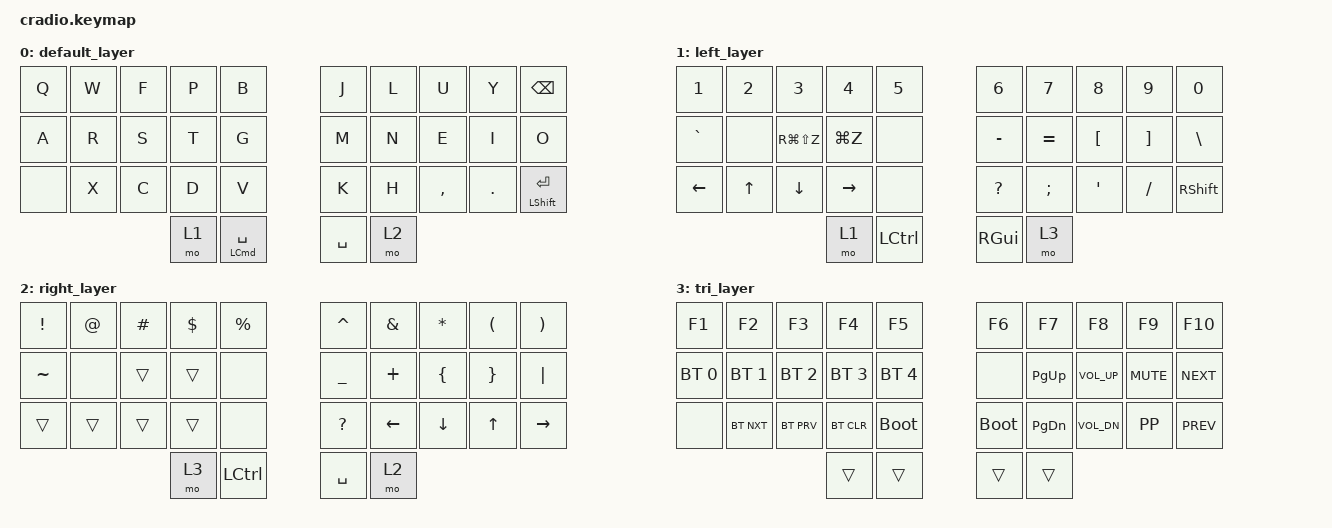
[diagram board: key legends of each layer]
/*
 * Copyright (c) 2020 The ZMK Contributors
 *
 * SPDX-License-Identifier: MIT
 */

#include <behaviors.dtsi>
#include <dt-bindings/zmk/keys.h>
#include <dt-bindings/zmk/bt.h>

&mt {
    //  flavor = "tap-preferred";
    // tapping_term_ms = <200>;
};

/ {
    combos {
        compatible = "zmk,combos";

        combo_esc {
            timeout-ms = <50>;
            key-positions = <0 1>;
            bindings = <&kp ESC>;
        };

        combo_tab {
            timeout-ms = <50>;
            key-positions = <10 11>;
            bindings = <&kp TAB>;
        };

        combo_ralt {
            timeout-ms = <50>;
            key-positions = <17 16>;
            bindings = <&kp RALT>;
        };

        combo_lalt {
            timeout-ms = <50>;
            key-positions = <11 12>;
            bindings = <&kp LALT>;
        };

        combo_lgui {
            timeout-ms = <50>;
            key-positions = <12 13>;
            bindings = <&kp LGUI>;
        };

        combo_rgui {
            timeout-ms = <50>;
            key-positions = <17 18>;
            bindings = <&kp RGUI>;
        };

        combo_z {
            bindings = <&kp Z>;
            key-positions = <10 21>;
        };

        combo_lctrl {
            bindings = <&kp LEFT_CONTROL>;
            key-positions = <21 22>;
        };

        combo_rctrl {
            bindings = <&kp RCTRL>;
            key-positions = <27 28>;
        };
    };

    keymap {
        compatible = "zmk,keymap";

        default_layer {
            bindings = <
  &kp Q   &kp W   &kp F   &kp P                   &kp B      &kp J   &kp L      &kp U    &kp Y     &kp BACKSPACE
  &kp A   &kp R   &kp S   &kp T                   &kp G      &kp M   &kp N      &kp E    &kp I             &kp O
  &none   &kp X   &kp C   &kp D                   &kp V      &kp K   &kp H  &kp COMMA  &kp DOT  &mt LSHIFT ENTER
                          &mo 1  &mt LEFT_COMMAND SPACE  &kp SPACE   &mo 2
            >;
        };

        left_layer {
            bindings = <
   &kp NUMBER_1  &kp NUMBER_2    &kp NUMBER_3     &kp NUMBER_4  &kp NUMBER_5  &kp NUMBER_6  &kp NUMBER_7  &kp NUMBER_8  &kp NUMBER_9   &kp NUMBER_0
      &kp GRAVE         &none   &kp RG(LS(Z))        &kp LG(Z)         &none     &kp MINUS     &kp EQUAL      &kp LBKT      &kp RBKT  &kp BACKSLASH
 &kp LEFT_ARROW  &kp UP_ARROW  &kp DOWN_ARROW  &kp RIGHT_ARROW         &none  &kp QUESTION      &kp SEMI      &kp APOS     &kp SLASH      &kp RSHFT
                                                         &mo 1     &kp LCTRL      &kp RGUI         &mo 3
            >;
        };

        right_layer {
            bindings = <
  &kp EXCL  &kp AT  &kp HASH  &kp DLLR  &kp PERCENT     &kp CARET  &kp AMPS  &kp STAR  &kp LPAR   &kp RPAR
 &kp TILDE   &none    &trans    &trans        &none     &kp UNDER  &kp PLUS  &kp LBRC  &kp RBRC   &kp PIPE
    &trans  &trans    &trans    &trans        &none  &kp QUESTION  &kp LEFT  &kp DOWN    &kp UP  &kp RIGHT
                                 &mo 3     &kp LCTL       &kp SPC     &mo 2
            >;
        };

        tri_layer {
            bindings = <
       &kp F1        &kp F2        &kp F3        &kp F4        &kp F5       &kp F6     &kp F7        &kp F8      &kp F9     &kp F10
 &bt BT_SEL 0  &bt BT_SEL 1  &bt BT_SEL 2  &bt BT_SEL 3  &bt BT_SEL 4        &none  &kp PG_UP  &kp K_VOL_UP  &kp K_MUTE  &kp K_NEXT
        &none    &bt BT_NXT    &bt BT_PRV    &bt BT_CLR   &bootloader  &bootloader  &kp PG_DN  &kp K_VOL_DN    &kp K_PP  &kp K_PREV
                                                 &trans        &trans       &trans     &trans
            >;
        };
    };
};
